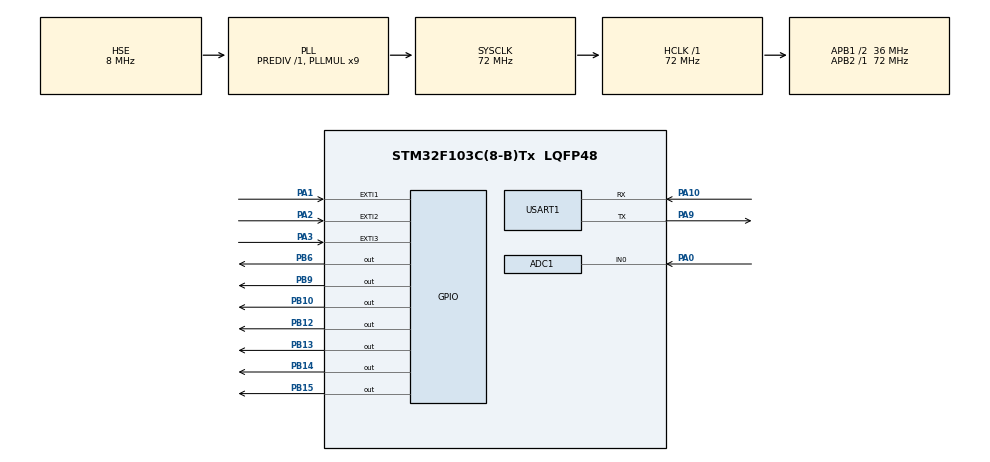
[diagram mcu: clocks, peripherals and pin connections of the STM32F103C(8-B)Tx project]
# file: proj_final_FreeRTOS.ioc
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ADC1.Channel-0\#ChannelRegularConversion=ADC_CHANNEL_0
ADC1.NbrOfConversionFlag=1
ADC1.Rank-0\#ChannelRegularConversion=1
ADC1.SamplingTime-0\#ChannelRegularConversion=ADC_SAMPLETIME_1CYCLE_5
ADC1.master=1
FREERTOS.INCLUDE_vTaskCleanUpResources=1
FREERTOS.Queues01=Q_Reqs,16,uint16_t,0,Dynamic,NULL,NULL
FREERTOS.Tasks01=defaultTask,0,64,StartDefaultTask,Default,NULL,Dynamic,NULL,NULL;Task_MngLED,-3,64,fnTask_MngLED,Default,NULL,Dynamic,NULL,NULL;TaskDisplay,-3,64,fn_TaskDisplay,Default,NULL,Dynamic,NULL,NULL;Task_Varrer,-3,64,fn_Task_Varrer,Default,NULL,Dynamic,NULL,NULL;Task_MngComns,-3,64,fn_Task_MngComns,Default,NULL,Dynamic,NULL,NULL
FREERTOS.configMINIMAL_STACK_SIZE=64
FREERTOS.configUSE_NEWLIB_REENTRANT=1
FREERTOS.configUSE_TICK_HOOK=1
Mcu.Family=STM32F1
Mcu.Name=STM32F103C(8-B)Tx
Mcu.Package=LQFP48
NVIC.ADC1_2_IRQn=true\:5\:0\:false\:true\:true\:4\:true\:true\:true\:true
NVIC.EXTI1_IRQn=true\:5\:0\:false\:true\:true\:3\:false\:true\:true\:true
NVIC.EXTI2_IRQn=true\:5\:0\:false\:true\:true\:2\:false\:true\:true\:true
NVIC.EXTI3_IRQn=true\:5\:0\:false\:true\:true\:1\:false\:true\:true\:true
NVIC.PriorityGroup=NVIC_PRIORITYGROUP_4
NVIC.TIM4_IRQn=true\:15\:0\:false\:false\:true\:false\:false\:true\:true
NVIC.TimeBase=TIM4_IRQn
NVIC.TimeBaseIP=TIM4
NVIC.USART1_IRQn=true\:5\:0\:false\:true\:true\:5\:true\:true\:true\:true
PA0-WKUP.Signal=ADCx_IN0
PA1.GPIO_ModeDefaultEXTI=GPIO_MODE_IT_FALLING
PA1.Signal=GPXTI1
PA10.Mode=Asynchronous
PA10.Signal=USART1_RX
PA13.Mode=Serial_Wire
PA13.Signal=SYS_JTMS-SWDIO
PA14.Mode=Serial_Wire
PA14.Signal=SYS_JTCK-SWCLK
PA2.GPIO_ModeDefaultEXTI=GPIO_MODE_IT_FALLING
PA2.Signal=GPXTI2
PA3.GPIO_ModeDefaultEXTI=GPIO_MODE_IT_FALLING
PA3.Signal=GPXTI3
PA9.Mode=Asynchronous
PA9.Signal=USART1_TX
PB10.Signal=GPIO_Output
PB12.PinState=GPIO_PIN_SET
PB12.Signal=GPIO_Output
PB13.PinState=GPIO_PIN_SET
PB13.Signal=GPIO_Output
PB14.PinState=GPIO_PIN_SET
PB14.Signal=GPIO_Output
PB15.PinState=GPIO_PIN_SET
PB15.Signal=GPIO_Output
PB6.Signal=GPIO_Output
PB9.Signal=GPIO_Output
PD0-OSC_IN.Mode=HSE-External-Oscillator
PD0-OSC_IN.Signal=RCC_OSC_IN
PD1-OSC_OUT.Mode=HSE-External-Oscillator
PD1-OSC_OUT.Signal=RCC_OSC_OUT
ProjectManager.HeapSize=0x200
ProjectManager.StackSize=0x400
ProjectManager.TargetToolchain=STM32CubeIDE
RCC.ADCPresc=RCC_ADCPCLK2_DIV6
RCC.AHBFreq_Value=72000000
RCC.APB1CLKDivider=RCC_HCLK_DIV2
RCC.APB1Freq_Value=36000000
RCC.APB1TimFreq_Value=72000000
RCC.APB2Freq_Value=72000000
RCC.APB2TimFreq_Value=72000000
RCC.HCLKFreq_Value=72000000
RCC.PLLMUL=RCC_PLL_MUL9
RCC.PLLSourceVirtual=RCC_PLLSOURCE_HSE
RCC.SYSCLKFreq_VALUE=72000000
RCC.SYSCLKSource=RCC_SYSCLKSOURCE_PLLCLK
RCC.USBFreq_Value=72000000
SH.ADCx_IN0.0=ADC1_IN0,IN0
USART1.VirtualMode=VM_ASYNC
VP_FREERTOS_VS_CMSIS_V1.Mode=CMSIS_V1
VP_SYS_VS_tim4.Mode=TIM4
board=custom

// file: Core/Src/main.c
/* USER CODE BEGIN Header */
/**
  ******************************************************************************
  * @file           : main.c
  * @brief          : Main program body
  ******************************************************************************
  * @attention
  *
  * Copyright (c) 2024 STMicroelectronics.
  * All rights reserved.
  *
  * This software is licensed under terms that can be found in the LICENSE file
  * in the root directory of this software component.
  * If no LICENSE file comes with this software, it is provided AS-IS.
  *
  ******************************************************************************
  */
/* USER CODE END Header */
#include "main.h"
#include "cmsis_os.h"

/* USER CODE BEGIN Includes */
//             --- veja includes, macro, e constantes no main.h ---
#include <funcoes_display.h>
/* USER CODE END Includes */

/* USER CODE BEGIN PD */
// ---- ver vários #defines (kts, delays, etc) no main.h ----
/* USER CODE END PD */

/* USER CODE BEGIN PM */
//  --- ver macros definidas no main.h ---
/* USER CODE END PM */

ADC_HandleTypeDef hadc1;

UART_HandleTypeDef huart1;

osThreadId defaultTaskHandle;
osThreadId Task_MngLEDHandle;
osThreadId TaskDisplayHandle;
osThreadId Task_VarrerHandle;
osThreadId Task_MngComnsHandle;
osMessageQId Q_ReqsHandle;
/* USER CODE BEGIN PV */
// variáveis que todos vamos usar: buffers de entrada/saída na comunicação
// buffers para entrada e saida de dados via USART
uint8_t BufOUT[] = {'0','0','0','0','0'};  // inicia buffer OUT com cars "0"
uint8_t BufIN[]  = {'0','0','0','0','0'};  // inicia buffer IN com cars "0"
int8_t DspHex[]  = {8,8,8,8};      // vetor val display (se=16 display off)
size_t sizeBuffs = sizeof(BufOUT);     // tamanho dos buffers - usa geral

// os vetores abaixo tem idx[0] = digito menos significativo no display
int8_t Crono[] = {0,0,0,0};            // vetor com vals decimais do cronometro
int8_t ValAdc[] = {0,0,0,0};           // vetor com vals decimais do ADC
int8_t CronoExt[] = {0,0,0,0};
int8_t ValAdcExt[] = {0,0,0,0};

uint8_t ptoDec = 0;  // qual dig liga pto? (ex: 0xA=>1010=> 1000=MSD + 0010=DG2)
uint32_t tinCrono = 0;                 // último tempo de entrada no cronômetro

volatile uint8_t modoLed = STARTUP;
volatile uint8_t modoDisplay = DISPLAY_INTRN;
uint8_t recebendoDados = 0;

int8_t RA[] = {0, 3, 3, 9};

uint32_t tADC = 0;

uint32_t startTime;
uint8_t startupComplete = 0;

int A1_foi_apertado = 0;

BaseType_t xHigherPriorityTaskWoken = pdFALSE;

/* USER CODE END PV */

void SystemClock_Config(void);
static void MX_GPIO_Init(void);
static void MX_ADC1_Init(void);
static void MX_USART1_UART_Init(void);
void StartDefaultTask(void const * argument);
void fnTask_MngLED(void const * argument);
void fn_TaskDisplay(void const * argument);
void fn_Task_Varrer(void const * argument);
void fn_Task_MngComns(void const * argument);

static void MX_NVIC_Init(void);
/* USER CODE BEGIN PFP */
void put_Q_ISR(uint16_t code);
void put_Q(uint16_t code);
/* USER CODE END PFP */

/* USER CODE BEGIN 0 */
void put_Q_ISR(uint16_t code)
{
	xQueueSendFromISR(Q_ReqsHandle, &code,  &xHigherPriorityTaskWoken);
	portYIELD_FROM_ISR(xHigherPriorityTaskWoken);

}
void put_Q(uint16_t code)
{
	xQueueSend(Q_ReqsHandle, &code, ( TickType_t ) 0 );
}

/* USER CODE END 0 */

int main(void)
{

  /* MCU Configuration--------------------------------------------------------*/

  /* Reset of all peripherals, Initializes the Flash interface and the Systick. */
  HAL_Init();

  /* Configure the system clock */
  SystemClock_Config();

  /* Initialize all configured peripherals */
  MX_GPIO_Init();
  MX_ADC1_Init();
  MX_USART1_UART_Init();

  /* Initialize interrupts */
  MX_NVIC_Init();

  /* Create the queue(s) */
  /* definition and creation of Q_Reqs */
  osMessageQDef(Q_Reqs, 16, uint16_t);
  Q_ReqsHandle = osMessageCreate(osMessageQ(Q_Reqs), NULL);

  /* Create the thread(s) */
  /* definition and creation of defaultTask */
  osThreadDef(defaultTask, StartDefaultTask, osPriorityNormal, 0, 64);
  defaultTaskHandle = osThreadCreate(osThread(defaultTask), NULL);

  /* definition and creation of Task_MngLED */
  osThreadDef(Task_MngLED, fnTask_MngLED, osPriorityIdle, 0, 64);
  Task_MngLEDHandle = osThreadCreate(osThread(Task_MngLED), NULL);

  /* definition and creation of TaskDisplay */
  osThreadDef(TaskDisplay, fn_TaskDisplay, osPriorityIdle, 0, 64);
  TaskDisplayHandle = osThreadCreate(osThread(TaskDisplay), NULL);

  /* definition and creation of Task_Varrer */
  osThreadDef(Task_Varrer, fn_Task_Varrer, osPriorityIdle, 0, 64);
  Task_VarrerHandle = osThreadCreate(osThread(Task_Varrer), NULL);

  /* definition and creation of Task_MngComns */
  osThreadDef(Task_MngComns, fn_Task_MngComns, osPriorityIdle, 0, 64);
  Task_MngComnsHandle = osThreadCreate(osThread(Task_MngComns), NULL);

  /* Start scheduler */
  osKernelStart();

  /* We should never get here as control is now taken by the scheduler */
  /* Infinite loop */
  /* USER CODE BEGIN WHILE */
  while (1)
  {
        // ATENÇÃO: como aqui nunca vai chegar mesmo!
        // exemplo de comandO para ENVIAR o buffer BufOUT pela UART1
        HAL_UART_Transmit_IT(&huart1, BufOUT, sizeBuffs);
    /* USER CODE END WHILE */

  }
}

void SystemClock_Config(void)
{
  RCC_OscInitTypeDef RCC_OscInitStruct = {0};
  RCC_ClkInitTypeDef RCC_ClkInitStruct = {0};
  RCC_PeriphCLKInitTypeDef PeriphClkInit = {0};

  /** Initializes the RCC Oscillators according to the specified parameters
  * in the RCC_OscInitTypeDef structure.
  */
  RCC_OscInitStruct.OscillatorType = RCC_OSCILLATORTYPE_HSE;
  RCC_OscInitStruct.HSEState = RCC_HSE_ON;
  RCC_OscInitStruct.HSEPredivValue = RCC_HSE_PREDIV_DIV1;
  RCC_OscInitStruct.HSIState = RCC_HSI_ON;
  RCC_OscInitStruct.PLL.PLLState = RCC_PLL_ON;
  RCC_OscInitStruct.PLL.PLLSource = RCC_PLLSOURCE_HSE;
  RCC_OscInitStruct.PLL.PLLMUL = RCC_PLL_MUL9;
  if (HAL_RCC_OscConfig(&RCC_OscInitStruct) != HAL_OK)
  {
    Error_Handler();
  }

  /** Initializes the CPU, AHB and APB buses clocks
  */
  RCC_ClkInitStruct.ClockType = RCC_CLOCKTYPE_HCLK|RCC_CLOCKTYPE_SYSCLK
                              |RCC_CLOCKTYPE_PCLK1|RCC_CLOCKTYPE_PCLK2;
  RCC_ClkInitStruct.SYSCLKSource = RCC_SYSCLKSOURCE_PLLCLK;
  RCC_ClkInitStruct.AHBCLKDivider = RCC_SYSCLK_DIV1;
  RCC_ClkInitStruct.APB1CLKDivider = RCC_HCLK_DIV2;
  RCC_ClkInitStruct.APB2CLKDivider = RCC_HCLK_DIV1;

  if (HAL_RCC_ClockConfig(&RCC_ClkInitStruct, FLASH_LATENCY_2) != HAL_OK)
  {
    Error_Handler();
  }
  PeriphClkInit.PeriphClockSelection = RCC_PERIPHCLK_ADC;
  PeriphClkInit.AdcClockSelection = RCC_ADCPCLK2_DIV6;
  if (HAL_RCCEx_PeriphCLKConfig(&PeriphClkInit) != HAL_OK)
  {
    Error_Handler();
  }
}

/**
  * @brief NVIC Configuration.
  * @retval None
  */
static void MX_NVIC_Init(void)
{
  /* EXTI3_IRQn interrupt configuration */
  HAL_NVIC_SetPriority(EXTI3_IRQn, 5, 0);
  HAL_NVIC_EnableIRQ(EXTI3_IRQn);
  /* EXTI2_IRQn interrupt configuration */
  HAL_NVIC_SetPriority(EXTI2_IRQn, 5, 0);
  HAL_NVIC_EnableIRQ(EXTI2_IRQn);
  /* EXTI1_IRQn interrupt configuration */
  HAL_NVIC_SetPriority(EXTI1_IRQn, 5, 0);
  HAL_NVIC_EnableIRQ(EXTI1_IRQn);
  /* ADC1_2_IRQn interrupt configuration */
  HAL_NVIC_SetPriority(ADC1_2_IRQn, 5, 0);
  HAL_NVIC_EnableIRQ(ADC1_2_IRQn);
  /* USART1_IRQn interrupt configuration */
  HAL_NVIC_SetPriority(USART1_IRQn, 5, 0);
  HAL_NVIC_EnableIRQ(USART1_IRQn);
}

static void MX_ADC1_Init(void)
{

  ADC_ChannelConfTypeDef sConfig = {0};

  /** Common config
  */
  hadc1.Instance = ADC1;
  hadc1.Init.ScanConvMode = ADC_SCAN_DISABLE;
  hadc1.Init.ContinuousConvMode = DISABLE;
  hadc1.Init.DiscontinuousConvMode = DISABLE;
  hadc1.Init.ExternalTrigConv = ADC_SOFTWARE_START;
  hadc1.Init.DataAlign = ADC_DATAALIGN_RIGHT;
  hadc1.Init.NbrOfConversion = 1;
  if (HAL_ADC_Init(&hadc1) != HAL_OK)
  {
    Error_Handler();
  }

  /** Configure Regular Channel
  */
  sConfig.Channel = ADC_CHANNEL_0;
  sConfig.Rank = ADC_REGULAR_RANK_1;
  sConfig.SamplingTime = ADC_SAMPLETIME_1CYCLE_5;
  if (HAL_ADC_ConfigChannel(&hadc1, &sConfig) != HAL_OK)
  {
    Error_Handler();
  }

}

static void MX_USART1_UART_Init(void)
{

  huart1.Instance = USART1;
  huart1.Init.BaudRate = 115200;
  huart1.Init.WordLength = UART_WORDLENGTH_8B;
  huart1.Init.StopBits = UART_STOPBITS_1;
  huart1.Init.Parity = UART_PARITY_NONE;
  huart1.Init.Mode = UART_MODE_TX_RX;
  huart1.Init.HwFlowCtl = UART_HWCONTROL_NONE;
  huart1.Init.OverSampling = UART_OVERSAMPLING_16;
  if (HAL_UART_Init(&huart1) != HAL_OK)
  {
    Error_Handler();
  }

}

static void MX_GPIO_Init(void)
{
  GPIO_InitTypeDef GPIO_InitStruct = {0};

  /* GPIO Ports Clock Enable */
  __HAL_RCC_GPIOD_CLK_ENABLE();
  __HAL_RCC_GPIOA_CLK_ENABLE();
  __HAL_RCC_GPIOB_CLK_ENABLE();

  /*Configure GPIO pin Output Level */
  HAL_GPIO_WritePin(GPIOB, GPIO_PIN_10|GPIO_PIN_6|GPIO_PIN_9, GPIO_PIN_RESET);

  /*Configure GPIO pin Output Level */
  HAL_GPIO_WritePin(GPIOB, GPIO_PIN_12|GPIO_PIN_13|GPIO_PIN_14|GPIO_PIN_15, GPIO_PIN_SET);

  /*Configure GPIO pins : PA1 PA2 PA3 */
  GPIO_InitStruct.Pin = GPIO_PIN_1|GPIO_PIN_2|GPIO_PIN_3;
  GPIO_InitStruct.Mode = GPIO_MODE_IT_FALLING;
  GPIO_InitStruct.Pull = GPIO_NOPULL;
  HAL_GPIO_Init(GPIOA, &GPIO_InitStruct);

  /*Configure GPIO pins : PB10 PB12 PB13 PB14
                           PB15 PB6 PB9 */
  GPIO_InitStruct.Pin = GPIO_PIN_10|GPIO_PIN_12|GPIO_PIN_13|GPIO_PIN_14
                          |GPIO_PIN_15|GPIO_PIN_6|GPIO_PIN_9;
  GPIO_InitStruct.Mode = GPIO_MODE_OUTPUT_PP;
  GPIO_InitStruct.Pull = GPIO_NOPULL;
  GPIO_InitStruct.Speed = GPIO_SPEED_FREQ_LOW;
  HAL_GPIO_Init(GPIOB, &GPIO_InitStruct);

}

/* USER CODE BEGIN 4 */

// fn que atende ao callback da ISR do conversor ADC1
void HAL_ADC_ConvCpltCallback(ADC_HandleTypeDef* hadc)
{
  uint16_t val_adc = 0;                // define var para ler ADC
  if(hadc->Instance == ADC1) {         // se veio ADC1
    val_adc = HAL_ADC_GetValue(&hadc1);// capta valor adc
    // converter o valor lido em valores hexa p/ display
    int miliVolt = val_adc*3300/4095;
    int uniADC = miliVolt/1000;
    int decADC = (miliVolt-(uniADC*1000))/100;
    int cnsADC = (miliVolt-(uniADC*1000)-(decADC*100))/10;
    int mlsADC = miliVolt-(uniADC*1000)-(decADC*100)-(cnsADC*10);
    ValAdc[3] = uniADC;         // dig mais significativo
    ValAdc[2] = decADC;
    ValAdc[1] = cnsADC;
    ValAdc[0] = mlsADC;
  }
}

// fn que atende ao callback da ISR quando RECEBE dado pela UART
void HAL_UART_RxCpltCallback(UART_HandleTypeDef *huart)
{
  // o que veio na UART? aqui vc vai fazer testes p/ identificar mensagens

	__disable_irq();                   // desabilita IRQs
  // exemplo: se veio um valor iniciado com 'aXXXX", veio o valor do ADC
	if (BufIN[0] == 's')
	{
		HAL_GPIO_WritePin(GPIOB, LED4 | LED3 | LED2 | LED1, GPIO_PIN_RESET);
		modoDisplay = DISPLAY_EXTRN;
		recebendoDados = 1;
		if (A1_foi_apertado == 0)
		{
			modoLed = WFI;
		}
		else
		{
			//setup modo 2s 4 valores
			modoLed = LED_CRON_EXT;
		}
	}

	if (BufIN[0] == 'n')
	{
		modoDisplay = DISPLAY_INTRN;
		HAL_GPIO_WritePin(GPIOB, LED4 | LED3 | LED2 | LED1, GPIO_PIN_RESET);
		recebendoDados = 0;
		if (A1_foi_apertado == 0)
		{
			modoLed = WFI;
		}
		else
		{
			modoLed = LED_CRON;
		}

	}

	if (BufIN[0]=='A')
	{

		ValAdcExt[0] = conv_ASC_num(BufIN[4]);
		ValAdcExt[1] = conv_ASC_num(BufIN[3]);
		ValAdcExt[2] = conv_ASC_num(BufIN[2]);
		ValAdcExt[3] = conv_ASC_num(BufIN[1]);

	}

	if (BufIN[0]=='T')
	{
		CronoExt[0] = conv_ASC_num(BufIN[4]);
		CronoExt[1] = conv_ASC_num(BufIN[3]);
		CronoExt[2] = conv_ASC_num(BufIN[2]);
		CronoExt[3] = conv_ASC_num(BufIN[1]);

	}

	if (BufIN[0] == 't')
	{
		put_Q_ISR((uint16_t) Q_SND_CRN);
		//BufOUT[0] = 'T';
		//BufOUT[1] = conv_num_ASC(Crono[0]);
		//BufOUT[2] = conv_num_ASC(Crono[1]);
		//BufOUT[3] = conv_num_ASC(Crono[2]);
		//BufOUT[4] = conv_num_ASC(Crono[3]);
		//HAL_UART_Transmit_IT(&huart1, BufOUT, sizeBuffs);
	}

	if (BufIN[0] == 'a')
	{
		put_Q_ISR((uint16_t) Q_SND_ADC);
		//BufOUT[0] = 'A';
		//BufOUT[1] = conv_num_ASC(ValAdc[0]);
		//BufOUT[2] = conv_num_ASC(ValAdc[1]);
		//BufOUT[3] = conv_num_ASC(ValAdc[2]);
		//BufOUT[4] = conv_num_ASC(ValAdc[3]);
		//HAL_UART_Transmit_IT(&huart1, BufOUT, sizeBuffs);
	}

  	  __enable_irq();                      // volta habilitar IRQs

  // como precisa escutar a UART continuamente, reativar RECEPÇÃO via irq
  //TODO: disprar pela primeira vez em algum lugar
  	  HAL_UART_Receive_IT(&huart1, BufIN, sizeBuffs);
}

/* USER CODE END 4 */

void StartDefaultTask(void const * argument)
{
  /* USER CODE BEGIN 5 */
	startTime = HAL_GetTick();
	HAL_GPIO_WritePin(GPIOB, LED1 | LED2 | LED3 | LED4 , GPIO_PIN_RESET);

	HAL_UART_Receive_IT(&huart1, BufIN, sizeBuffs);
	/* Infinite loop */
  for(;;)
  {
	  // essa é a task default - vai colocar algo nela?
	  osDelay(1);
  }
  /* USER CODE END 5 */
}

void fnTask_MngLED(void const * argument)
{
  /* USER CODE BEGIN fnTask_MngLED */
  /* Infinite loop */
 //HAL_GPIO_WritePin(GPIOB, LED4 | LED3 | LED2 | LED1, GPIO_PIN_SET);

  for(;;)
  {
    switch (modoLed)
    {
      case STARTUP:
    	HAL_GPIO_WritePin(GPIOB, LED4 | LED3 | LED2 | LED1, GPIO_PIN_RESET);
    	break;
      case WFI:
    	HAL_GPIO_WritePin(GPIOB, LED4 | LED3 | LED2 | LED1, GPIO_PIN_SET);
    	break;
      case LED_CRON:
        HAL_GPIO_TogglePin(GPIOB, LED1);
        HAL_GPIO_WritePin(GPIOB, LED4 | LED3 | LED2, GPIO_PIN_SET);
        break;
      case LED_ADC:
        HAL_GPIO_TogglePin(GPIOB, LED2);
        HAL_GPIO_WritePin(GPIOB, LED4 | LED3 | LED1, GPIO_PIN_SET);
        break;
      case LED_CRON_EXT:
        HAL_GPIO_TogglePin(GPIOB, LED3);
        HAL_GPIO_WritePin(GPIOB, LED4 | LED2 | LED1, GPIO_PIN_SET);
        break;
      case LED_ADC_EXT:
        HAL_GPIO_TogglePin(GPIOB, LED4);
        HAL_GPIO_WritePin(GPIOB, LED3 | LED2 | LED1, GPIO_PIN_SET);
        break;
    }

    osDelay(DT_LEDS);
  }
  /* USER CODE END fnTask_MngLED */
}

void fn_TaskDisplay(void const * argument)
{
  /* USER CODE BEGIN fn_TaskDisplay */
  /* Infinite loop */
  for(;;)
  {

	  switch (modoDisplay)
	  {
	  	  case WFI:
	  		  break;

	  	  case DISPLAY_INTRN:
	  		//trocar para ADC
	  		  if (modoLed == LED_CRON)
	  		  {
	  			  modoLed = LED_ADC;

	  		  }

	  		  //trocar para CRON
	  		  else if (modoLed == LED_ADC)
	  		  {
	  			  modoLed = LED_CRON;
	  		  }

	  		  break;

	  	  case DISPLAY_EXTRN:
	  		if (modoLed == WFI)
	  		{
	  			modoLed = LED_CRON_EXT;
	  		}
	  		else if (modoLed == LED_CRON)
	  		{
	  			modoLed = LED_ADC;
	  		}
	  		else if (modoLed == LED_ADC)
	  		{
	  			modoLed = LED_CRON_EXT;
	  		}
	  		else if (modoLed == LED_CRON_EXT)
	  		{
	  			modoLed = LED_ADC_EXT;
	  		}
	  		else if (modoLed == LED_ADC_EXT)
	  		{
	  			if (A1_foi_apertado == 0)
	  			{
	  				modoLed = WFI;
	  			}
	  			else
	  			{
	  				modoLed = LED_CRON;
	  			}
	  		}
	  		break; //break do case DISPLAY EXTRN
	  }

	  if (modoDisplay == DISPLAY_INTRN)
	  {
		  osDelay(DT_DISPLAY_MD1);
	  }
	  else
	  {
		  osDelay(DT_DISPLAY_MD2);
	  }
  }
  /* USER CODE END fn_TaskDisplay */
}

void fn_Task_Varrer(void const * argument)
{
  /* USER CODE BEGIN fn_Task_Varrer */
  /* Infinite loop */
  for(;;)
  {
	  if (HAL_GetTick() - startTime > 2000  && startupComplete != 1)
	  {
		  modoLed = WFI;
		  startupComplete = 1;
	  }
	  switch (modoLed)
	  		  {
	  	  	  	  case STARTUP:
	  	  	  		  DspHex[0] = 8;
	  	  	  		  DspHex[1] = 8;
	  	  	  		  DspHex[2] = 8;
	  	  	  		  DspHex[3] = 8;
	  	  	  		  ptoDec = 15;
	  	  	  		  break;
	  		  	  case WFI:
	  		  		  DspHex[3] = RA[0];
	  		  		  DspHex[2] = RA[1];
	  		  		  DspHex[1] = RA[2];
	  		  		  DspHex[0] = RA[3];
	  		  		  break;
	  		  	  case LED_CRON:
	  		  		  DspHex[0] = Crono[0];
	  		  		  DspHex[1] = Crono[1];
	  		  		  DspHex[2] = Crono[2];
	  		  		  DspHex[3] = Crono[3];
	  		  		  ptoDec = 10;
	  		  		  break;
	  		  	  case LED_ADC:
	  		  		  DspHex[0] = ValAdc[0];
	  		  		  DspHex[1] = ValAdc[1];
	  		  		  DspHex[2] = ValAdc[2];
	  		  		  DspHex[3] = ValAdc[3];
	  		  		  ptoDec = 8;
	  		  		  break;
	  		  	  case LED_CRON_EXT:

	  		  		  //STR_BUFF(REQCRN);
	  		  		  //HAL_UART_Transmit_IT(&huart1, BufOUT, sizeBuffs);
	  		  		  put_Q((uint16_t) Q_REQ_CRN);

	  		  		  DspHex[0] = CronoExt[0];
	  		  		  DspHex[1] = CronoExt[1];
	  		  		  DspHex[2] = CronoExt[2];
	  		  		  DspHex[3] = CronoExt[3];
	  		  		  ptoDec = 10;
	  		  		  break;
	  		  	  case LED_ADC_EXT:
	  		  		  //STR_BUFF(REQADC);
	  		  		  //HAL_UART_Transmit_IT(&huart1, BufOUT, sizeBuffs);
	  		  		  put_Q((uint16_t) Q_REQ_ADC);

	  		  		  DspHex[0] = ValAdcExt[0];
	  		  		  DspHex[1] = ValAdcExt[1];
	  		  		  DspHex[2] = ValAdcExt[2];
	  		  		  DspHex[3] = ValAdcExt[3];
	  		  		  ptoDec = 8;
	  		  		  break;
	  		  }
	  mostrar_no_display(DspHex, ptoDec);
	  osDelay(DT_VARRE_DISPLAY);
  }
  /* USER CODE END fn_Task_Varrer */
}

void fn_Task_MngComns(void const * argument)
{
  /* USER CODE BEGIN fn_Task_MngComns */
  /* Infinite loop */
	uint16_t msg = 0;
	BaseType_t statusReturn = pdFALSE;
  for(;;)
  {
	  statusReturn = pdFALSE;
	  if (HAL_UART_GetState(&huart1) == HAL_UART_STATE_BUSY_TX)
	  {
		  //busy -> nao enviar nada agora
	  }

	  else if (uxQueueMessagesWaiting(Q_ReqsHandle) > 0)
	  {
		  statusReturn = xQueueReceive(Q_ReqsHandle, &msg, ( TickType_t ) 10);

		  if (statusReturn == pdTRUE)
		  {
			  switch (msg)
			  {
				  case Q_SND_CRN:
					  BufOUT[0] = 'T';
					  BufOUT[1] = conv_num_ASC(Crono[3]);
					  BufOUT[2] = conv_num_ASC(Crono[2]);
					  BufOUT[3] = conv_num_ASC(Crono[1]);
					  BufOUT[4] = conv_num_ASC(Crono[0]);
					  break;
				  case Q_SND_ADC:
					  BufOUT[0] = 'A';
					  BufOUT[1] = conv_num_ASC(ValAdc[3]);
					  BufOUT[2] = conv_num_ASC(ValAdc[2]);
					  BufOUT[3] = conv_num_ASC(ValAdc[1]);
					  BufOUT[4] = conv_num_ASC(ValAdc[0]);
					  break;
				  case Q_REQ_CRN:
					  STR_BUFF(REQCRN);
					  break;
				  case Q_REQ_ADC:
					  STR_BUFF(REQADC);
					  break;
				  case Q_REQ_SRV:
					  STR_BUFF(REQSRV);
					  break;
				  case Q_REQ_OFF:
					  STR_BUFF(REQOFF);
					  break;
			  }
			  HAL_UART_Transmit_IT(&huart1, BufOUT, sizeBuffs);
		  }

	  }
	  else
	  {
		  //tx livre -> fila vazia -> sem reqs
	  }
	  osDelay(1);
  }
  /* USER CODE END fn_Task_MngComns */
}

void HAL_TIM_PeriodElapsedCallback(TIM_HandleTypeDef *htim)
{
  if (htim->Instance == TIM4) {
    HAL_IncTick();
  }
  /* USER CODE BEGIN Callback 1 */

  //TODO:chamar att ADC no DT certo
  if (HAL_GetTick()- tADC > DT_ADC)
  {
	  HAL_ADC_Start_IT(&hadc1);
	  tADC = HAL_GetTick();
  }

  // CRONOMETRO UP/DOWN: teste se já passou DT_CRONO ms
    if ((HAL_GetTick() - tinCrono) > DT_CRONO)
    {
      tinCrono = HAL_GetTick();          // atualiza o tempo de entrada aqui
      if(MD_CRONO == 0){                 // MD_CRONO = 0 incrementa o cronômetro
        ++ Crono[0];                     // inc decimo de segundos
        if (Crono[0] > 9){               // se > 9
          Crono[0] = 0;                  // volta p/ zero
          ++ Crono[1];                   // inc unidade de segundo
          if (Crono[1] > 9){             // se > 9
            Crono[1] = 0;                // volta p/ zero
            ++ Crono[2];                 // inc dezena de segundos
            if (Crono[2] > 5){           // se > 5
              Crono[2] = 0;              // volta p/ zero
              ++ Crono[3];               // inc minutos
              if (Crono[3] > 9){         // se > 9
                Crono[3] = 0;            // volta p/ zero
        }  }  }  }
      } else {                           // MD_CRONO = 1 decrementa o cronômetro
        -- Crono[0];                     // dec decimo de segundos
        if (Crono[0] < 0){               // se < 0
          Crono[0] = 9;                  // volta p/ 9
          -- Crono[1];                   // dec unidade de segundo
          if (Crono[1] < 0){             // se < 0
            Crono[1] = 9;                // volta p/ 9
            -- Crono[2];                 // dec dezena de segundos
            if (Crono[2] < 0){           // se < 0
              Crono[2] = 5;              // volta p/ 5
              -- Crono[3];               // dec minutos
              if (Crono[3] < 0 ){        // se < 0
                Crono[3] = 9;            // volta p/ 9
        }  }  }  }
      }
    }

  /* USER CODE END Callback 1 */
}

void Error_Handler(void)
{
  __disable_irq();
  while (1)
  {
  }
}

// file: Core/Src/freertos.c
/* USER CODE BEGIN Header */
/**
  ******************************************************************************
  * File Name          : freertos.c
  * Description        : Code for freertos applications
  ******************************************************************************
  * @attention
  *
  * Copyright (c) 2024 STMicroelectronics.
  * All rights reserved.
  *
  * This software is licensed under terms that can be found in the LICENSE file
  * in the root directory of this software component.
  * If no LICENSE file comes with this software, it is provided AS-IS.
  *
  ******************************************************************************
  */
/* USER CODE END Header */

#include "FreeRTOS.h"
#include "task.h"
#include "main.h"

/* GetIdleTaskMemory prototype (linked to static allocation support) */
void vApplicationGetIdleTaskMemory( StaticTask_t **ppxIdleTaskTCBBuffer, StackType_t **ppxIdleTaskStackBuffer, uint32_t *pulIdleTaskStackSize );

/* Hook prototypes */
void vApplicationTickHook(void);

/* USER CODE BEGIN 3 */
__weak void vApplicationTickHook( void )
{
   /* This function will be called by each tick interrupt if
   configUSE_TICK_HOOK is set to 1 in FreeRTOSConfig.h. User code can be
   added here, but the tick hook is called from an interrupt context, so
   code must not attempt to block, and only the interrupt safe FreeRTOS API
   functions can be used (those that end in FromISR()). */
}
/* USER CODE END 3 */

/* USER CODE BEGIN GET_IDLE_TASK_MEMORY */
static StaticTask_t xIdleTaskTCBBuffer;
static StackType_t xIdleStack[configMINIMAL_STACK_SIZE];

void vApplicationGetIdleTaskMemory( StaticTask_t **ppxIdleTaskTCBBuffer, StackType_t **ppxIdleTaskStackBuffer, uint32_t *pulIdleTaskStackSize )
{
  *ppxIdleTaskTCBBuffer = &xIdleTaskTCBBuffer;
  *ppxIdleTaskStackBuffer = &xIdleStack[0];
  *pulIdleTaskStackSize = configMINIMAL_STACK_SIZE;
  /* place for user code */
}
/* USER CODE END GET_IDLE_TASK_MEMORY */
